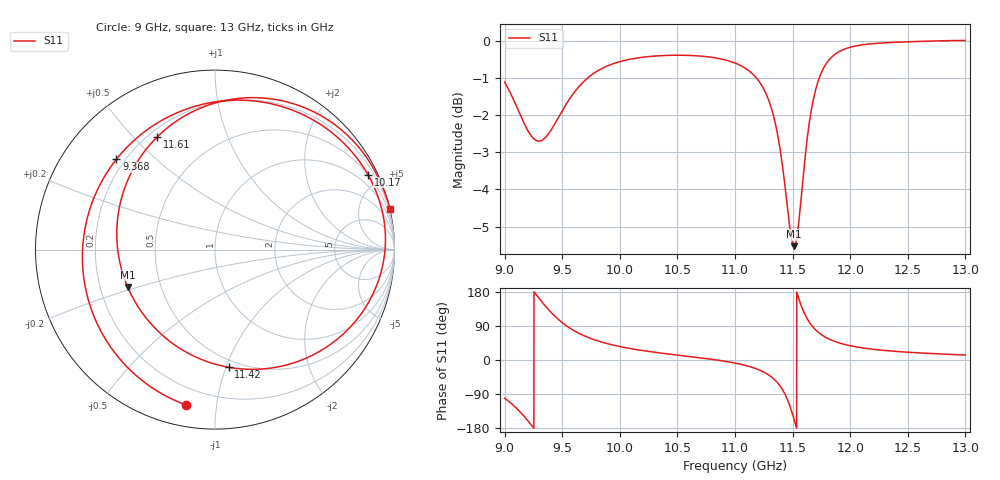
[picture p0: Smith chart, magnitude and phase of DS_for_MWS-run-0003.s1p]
! TOUCHSTONE file generated by CST DESIGN STUDIO
! Date and time: Tue Feb  4 14:10:33 2025
! Project name: C:\Work\MatlabApps\UnitCellOptimizationMatlab\CST\unitcell.cst
! Tree item: Tasks\Sweep1\SPara1\S-Parameters
! Header version: 2024
! Port assignment regex: !\s*Touchstone port\s*([0-9]+)\s*=\s*(CST MWS port|CST DES external port|CST DES block port)\s*(.+)\s* \(\"(.*)\"\)(\s*mode\s*([0-9]+))?.*
! Touchstone port assignment:
! Touchstone port 1 = CST DES external port 1 ("")
# GHz S MA R 50
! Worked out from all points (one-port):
!   4001 points, 9 GHz to 13 GHz, reference 50 ohm
!   lowest |S11| = -5.5 dB at 11.51 GHz (marker M1), VSWR 3.25, Z = 16 - j9.23 ohm
!   |S11| at or under -10 dB: nowhere
!   S11 on the Smith chart (normalised r, x): 9 GHz: 0.11, -0.82; 9.368 GHz: 0.17, +0.38; 10.17 GHz: 0.51, +4.25; 11.42 GHz: 0.44, -1.02; 11.61 GHz: 0.23, +0.58; 13 GHz: -0.02, +8.64
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9  0.8796 -100.8
9.101  0.8177 -126.5
9.209  0.7536 -162.8
9.285  0.7332 168.2
9.368  0.745 137.5
9.433  0.7717 116.6
9.5  0.8047 98.6
9.596  0.8486 78.6
9.725  0.8919 59.6
10  0.9371 35.5
10.173  0.9488 26.1
10.5  0.9559 13.0
11  0.9331 -8.1
11.156  0.9011 -20.1
11.266  0.8506 -34.6
11.349  0.7751 -53.6
11.422  0.6604 -83.3
11.462  0.5841 -109.6
11.5  0.5337 -143.6
11.513  0.5293 -156.9
11.559  0.5805 157.1
11.612  0.7049 117.3
11.679  0.8319 86.3
11.777  0.9233 61.6
11.873  0.9599 48.2
12  0.9798 37.7
12.5  0.9964 20.5
13  1.001 13.2
